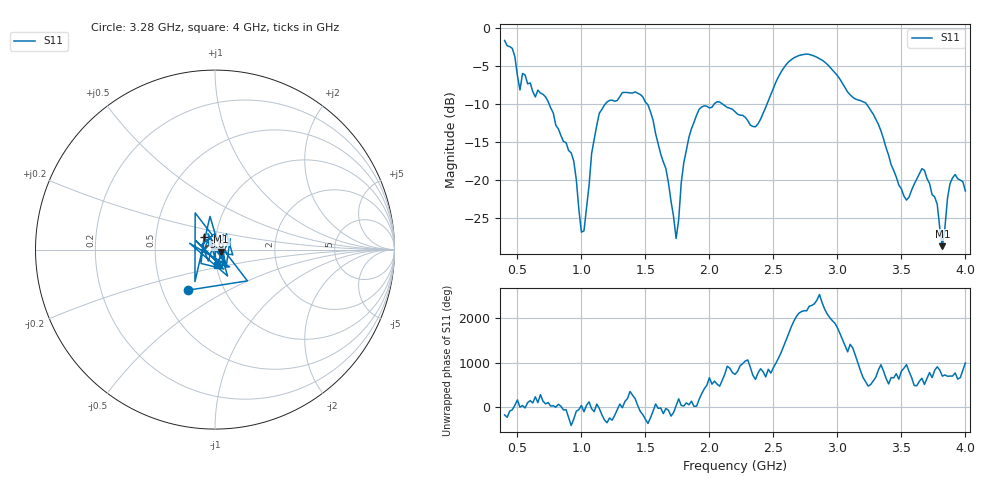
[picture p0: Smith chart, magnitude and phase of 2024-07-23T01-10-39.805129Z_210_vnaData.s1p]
!Created with skrf (http://scikit-rf.org).
# Hz S RI R 50.0
!freq ReS11 ImS11
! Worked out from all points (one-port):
!   181 points, 400 MHz to 4 GHz, reference 50 ohm
!   lowest |S11| = -28.7 dB at 3.82 GHz (marker M1), VSWR 1.08, Z = 53.6 - j1.27 ohm
!   |S11| at or under -10 dB: 747.5 MHz to 1.187 GHz (439.8 MHz wide, 45.5 % of centre); 1.513 GHz to 2.038 GHz (524.9 MHz wide, 29.6 % of centre); 3.226 GHz to end of sweep (the widest 3 of 4)
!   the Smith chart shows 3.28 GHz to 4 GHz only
!   S11 on the Smith chart (normalised r, x): 3.28 GHz: 0.67, -0.33; 3.6 GHz: 0.87, +0.12; 4 GHz: 1.01, -0.17
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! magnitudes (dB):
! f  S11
! 400 MHz  -1.6
! 520 MHz  -8.2
! 720 MHz  -9.1
! 860 MHz  -14.9
! 940 MHz  -17.5
! 1 GHz  -26.9
! 1.02 GHz  -26.7
! 1.08 GHz  -16.5
! 1.14 GHz  -11.2
! 1.3 GHz  -9.0
! 1.52 GHz  -10.1
! 1.66 GHz  -18.5
! 1.74 GHz  -27.7
! 1.76 GHz  -25.2
! 1.8 GHz  -17.7
! 1.92 GHz  -10.7
! 2.2 GHz  -11.0
! 2.36 GHz  -13.0
! 2.66 GHz  -3.9
! 3.1 GHz  -8.8
! 3.28 GHz  -11.3
! 3.56 GHz  -22.3
! 3.6 GHz  -20.6
! 3.68 GHz  -18.7
! 3.78 GHz  -23.2
! 3.82 GHz  -28.7
! 3.88 GHz  -20.5
! 4 GHz  -21.5
